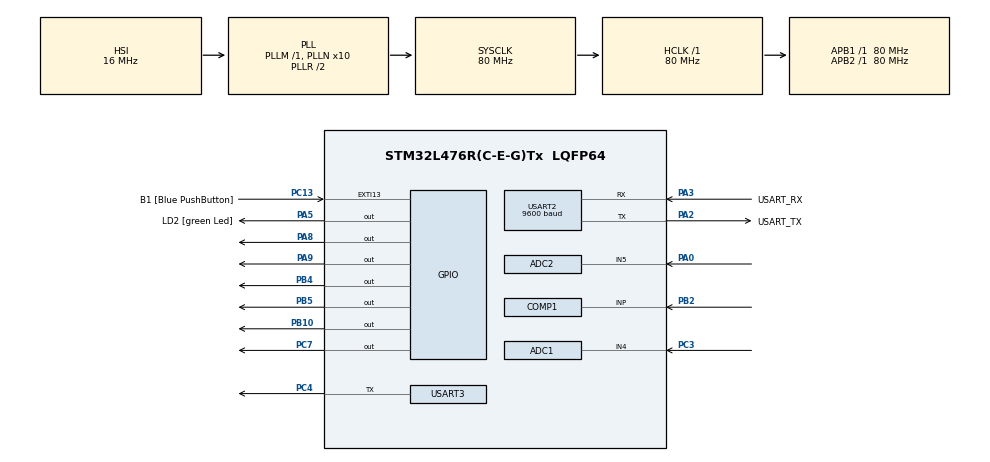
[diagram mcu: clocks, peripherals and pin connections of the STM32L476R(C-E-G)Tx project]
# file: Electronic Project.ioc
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ADC1.Channel-2\#ChannelRegularConversion=ADC_CHANNEL_4
ADC1.ClockPrescaler=ADC_CLOCK_ASYNC_DIV128
ADC1.ContinuousConvMode=ENABLE
ADC1.DMAContinuousRequests=ENABLE
ADC1.NbrOfConversionFlag=1
ADC1.OffsetNumber-2\#ChannelRegularConversion=ADC_OFFSET_NONE
ADC1.Rank-2\#ChannelRegularConversion=1
ADC1.SamplingTime-2\#ChannelRegularConversion=ADC_SAMPLETIME_12CYCLES_5
ADC1.master=1
ADC2.Channel-0\#ChannelRegularConversion=ADC_CHANNEL_5
ADC2.ClockPrescaler=ADC_CLOCK_ASYNC_DIV128
ADC2.NbrOfConversionFlag=1
ADC2.OffsetNumber-0\#ChannelRegularConversion=ADC_OFFSET_NONE
ADC2.Rank-0\#ChannelRegularConversion=1
ADC2.SamplingTime-0\#ChannelRegularConversion=ADC_SAMPLETIME_2CYCLES_5
COMP1.Hysteresis=COMP_HYSTERESIS_NONE
COMP1.TriggerMode=COMP_TRIGGERMODE_EVENT_RISING
Dma.ADC1.0.Direction=DMA_PERIPH_TO_MEMORY
Dma.ADC1.0.Instance=DMA1_Channel1
Dma.ADC1.0.MemDataAlignment=DMA_MDATAALIGN_WORD
Dma.ADC1.0.MemInc=DMA_MINC_ENABLE
Dma.ADC1.0.Mode=DMA_CIRCULAR
Dma.ADC1.0.PeriphDataAlignment=DMA_PDATAALIGN_WORD
Dma.ADC1.0.PeriphInc=DMA_PINC_DISABLE
Dma.ADC1.0.Priority=DMA_PRIORITY_LOW
Dma.Request0=ADC1
Mcu.Family=STM32L4
Mcu.Name=STM32L476R(C-E-G)Tx
Mcu.Package=LQFP64
NVIC.DMA1_Channel1_IRQn=true\:0\:0\:false\:false\:true\:false\:true\:true
NVIC.PriorityGroup=NVIC_PRIORITYGROUP_4
NVIC.TIM1_UP_TIM16_IRQn=true\:0\:0\:false\:false\:true\:true\:true\:true
PA0.Signal=ADCx_IN5
PA13\ (JTMS-SWDIO).GPIO_Label=TMS
PA13\ (JTMS-SWDIO).Mode=Serial_Wire
PA13\ (JTMS-SWDIO).Signal=SYS_JTMS-SWDIO
PA14\ (JTCK-SWCLK).GPIO_Label=TCK
PA14\ (JTCK-SWCLK).Mode=Serial_Wire
PA14\ (JTCK-SWCLK).Signal=SYS_JTCK-SWCLK
PA2.GPIO_Label=USART_TX
PA2.GPIO_Mode=GPIO_MODE_AF_PP
PA2.GPIO_PuPd=GPIO_NOPULL
PA2.GPIO_Speed=GPIO_SPEED_FREQ_VERY_HIGH
PA2.Mode=Asynchronous
PA2.Signal=USART2_TX
PA3.GPIO_Label=USART_RX
PA3.GPIO_Mode=GPIO_MODE_AF_PP
PA3.GPIO_PuPd=GPIO_NOPULL
PA3.GPIO_Speed=GPIO_SPEED_FREQ_VERY_HIGH
PA3.Mode=Asynchronous
PA3.Signal=USART2_RX
PA5.GPIO_Label=LD2 [green Led]
PA5.GPIO_ModeDefaultOutputPP=GPIO_MODE_OUTPUT_PP
PA5.GPIO_PuPd=GPIO_NOPULL
PA5.GPIO_Speed=GPIO_SPEED_FREQ_LOW
PA5.Signal=GPIO_Output
PA8.Signal=GPIO_Output
PA9.Signal=GPIO_Output
PB10.Signal=GPIO_Output
PB2.Mode=INP
PB2.Signal=COMP1_INP
PB3\ (JTDO-TRACESWO).GPIO_Label=SWO
PB3\ (JTDO-TRACESWO).Signal=SYS_JTDO-SWO
PB4\ (NJTRST).Signal=GPIO_Output
PB5.Signal=GPIO_Output
PC13.GPIO_Label=B1 [Blue PushButton]
PC13.GPIO_ModeDefaultEXTI=GPIO_MODE_IT_FALLING
PC13.GPIO_PuPd=GPIO_NOPULL
PC13.Signal=GPXTI13
PC14-OSC32_IN\ (PC14).Mode=LSE-External-Oscillator
PC14-OSC32_IN\ (PC14).Signal=RCC_OSC32_IN
PC15-OSC32_OUT\ (PC15).Mode=LSE-External-Oscillator
PC15-OSC32_OUT\ (PC15).Signal=RCC_OSC32_OUT
PC3.Signal=ADCx_IN4
PC4.Mode=Half_duplex(single_wire_mode)
PC4.Signal=USART3_TX
PC7.Signal=GPIO_Output
PH0-OSC_IN\ (PH0).Signal=RCC_OSC_IN
PH1-OSC_OUT\ (PH1).Signal=RCC_OSC_OUT
ProjectManager.HeapSize=0x200
ProjectManager.StackSize=0x400
ProjectManager.TargetToolchain=STM32CubeIDE
RCC.ADCFreq_Value=64000000
RCC.AHBFreq_Value=80000000
RCC.APB1Freq_Value=80000000
RCC.APB1TimFreq_Value=80000000
RCC.APB2Freq_Value=80000000
RCC.APB2TimFreq_Value=80000000
RCC.CortexFreq_Value=80000000
RCC.HCLKFreq_Value=80000000
RCC.HSE_VALUE=8000000
RCC.HSI_VALUE=16000000
RCC.MSI_VALUE=4000000
RCC.PLLN=10
RCC.PLLSourceVirtual=RCC_PLLSOURCE_HSI
RCC.PREFETCH_ENABLE=1
RCC.SYSCLKFreq_VALUE=80000000
RCC.SYSCLKSource=RCC_SYSCLKSOURCE_PLLCLK
RCC.USBFreq_Value=64000000
RCC.VCOOutputFreq_Value=160000000
SH.ADCx_IN4.0=ADC1_IN4,IN4-Single-Ended
SH.ADCx_IN5.0=ADC2_IN5,IN5-Single-Ended
TIM16.Period=5000-1
TIM16.Prescaler=0
USART2.BaudRate=9600
USART2.VirtualMode-Asynchronous=VM_ASYNC
USART3.BaudRate=57600
USART3.Mode=MODE_TX
USART3.VirtualMode-Half_duplex(single_wire_mode)=VM_ASYNC
VP_COMP1_VS_VREFINT12.Mode=VREFINT_12
VP_TIM16_VS_ClockSourceINT.Mode=Enable_Timer
board=NUCLEO-L476RG

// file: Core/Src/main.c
/* USER CODE BEGIN Header */
/**
  ******************************************************************************
  * @file           : main.c
  * @brief          : Main program body
  ******************************************************************************
  * @attention
  *
  * Copyright (c) 2022 STMicroelectronics.
  * All rights reserved.
  *
  * This software is licensed under terms that can be found in the LICENSE file
  * in the root directory of this software component.
  * If no LICENSE file comes with this software, it is provided AS-IS.
  *
  ******************************************************************************
  */
/* USER CODE END Header */
#include "main.h"

/* USER CODE BEGIN Includes */
#include <stdio.h>
#include <FFT.h>
#include <stdint.h>
#include <math.h>
#include "LCD_Display.h"
#include "comparator.h"
#include "ADC.h"
#include "utilities.h"
/* USER CODE END Includes */

/* USER CODE BEGIN PTD */
#define ADC_BUF_LEN 4096
#define CLOCK_FREQUENCY 16e3
#define TRANSMITTED_FREQUENCY 10.525e9
/* USER CODE END PTD */

ADC_HandleTypeDef hadc1;
ADC_HandleTypeDef hadc2;
DMA_HandleTypeDef hdma_adc1;

COMP_HandleTypeDef hcomp1;

TIM_HandleTypeDef htim16;

UART_HandleTypeDef huart2;
UART_HandleTypeDef huart3;

/* USER CODE BEGIN PV */
// ADC Globals
ADC adc;

// Comparator Globals
Comparator comp;
/* USER CODE END PV */

void SystemClock_Config(void);
void PeriphCommonClock_Config(void);
static void MX_GPIO_Init(void);
static void MX_DMA_Init(void);
static void MX_USART2_UART_Init(void);
static void MX_COMP1_Init(void);
static void MX_TIM16_Init(void);
static void MX_ADC2_Init(void);
static void MX_ADC1_Init(void);
static void MX_USART3_UART_Init(void);

int main(void)
{
  /* USER CODE BEGIN 1 */
  // LCD Variables
  LCDButtons sampling_mode = UP;
  char sampling_text[16] = "ADC f";
  LCDButtons units_mode = RIGHT;
  char units_text[16] = "kmph";
  float current_frequency = 0;
  float current_speed = 0;

  // ADC variables
  uint32_t adc_buf[ADC_BUF_LEN] = {0};	//buffer array
  /* USER CODE END 1 */

  /* MCU Configuration--------------------------------------------------------*/

  /* Reset of all peripherals, Initializes the Flash interface and the Systick. */
  HAL_Init();

  /* Configure the system clock */
  SystemClock_Config();

/* Configure the peripherals common clocks */
  PeriphCommonClock_Config();

  /* Initialize all configured peripherals */
  MX_GPIO_Init();
  MX_DMA_Init();
  MX_USART2_UART_Init();
  MX_COMP1_Init();
  MX_TIM16_Init();
  MX_ADC2_Init();
  MX_ADC1_Init();
  MX_USART3_UART_Init();
  /* USER CODE BEGIN 2 */
  // Starting Processes
  // Initializing LCD
  LCD_init();
  LCD_clear();

  // Initializing Comparator
  comparatorInit(&comp, &hcomp1, &htim16, CLOCK_FREQUENCY);
  // Initializing ADC
  ADCInit(&adc, &hadc1, ADC_BUF_LEN, adc_buf, 64000000, 128, 12, 12.5);
  ADCStart(&adc);
  /* USER CODE END 2 */

  /* Infinite loop */
  /* USER CODE BEGIN WHILE */
  while (1) {
	  LCDButtons current_button = LCD_get_pressed_button(&hadc2);

	  // Setting Mode
	  if (current_button == DOWN && sampling_mode != DOWN) {
		  comparatorStart(&comp);
		  ADCStop(&adc);
		  sampling_mode = DOWN;
		  snprintf(sampling_text, 16, "COMP f");
	  } else if (current_button == UP && sampling_mode != UP) {
		  comparatorStop(&comp);
		  ADCStart(&adc);
		  sampling_mode = UP;
		  snprintf(sampling_text, 16, "ADC f");
	  } else if (current_button == RIGHT && units_mode != RIGHT) {
		  units_mode = RIGHT;
		  snprintf(units_text, 16, "kmph");
	  } else if (current_button == LEFT && units_mode != LEFT) {
		  units_mode = LEFT;
		  snprintf(units_text, 16, "mph");
	  }

	  // Getting Frequency
	  if (sampling_mode == DOWN) {
		  current_frequency = comparatorCalculateFrequency(&comp);
	  } else if(sampling_mode == UP) {
		  current_frequency = ADCCalculateFrequency(&adc, 1);
	  }

	  // Printing to LCD
	  if (units_mode == RIGHT) {
		  current_speed = calculateSpeed(current_frequency, TRANSMITTED_FREQUENCY);
	  } else if (units_mode == LEFT) {
		  current_speed = calculateSpeedMPH(current_frequency, TRANSMITTED_FREQUENCY);
	  }

	  // Printing to LCD
	  // Line 1
	  LCD_put_cur(0, 0);
	  LCD_print_float(sampling_text, current_frequency);
	  // Line 2
	  LCD_put_cur(1, 0);
	  LCD_print_float(units_text, current_speed);

	  // Sending to 7-segment display
	  uint8_t speed_u8 = (uint8_t) roundf(current_speed);
	  uint8_t speed_bcd = binToBCD(speed_u8);
	  HAL_UART_Transmit(&huart3, &speed_bcd, 1, 100);

	  HAL_Delay(100);
    /* USER CODE END WHILE */

  }
}

void SystemClock_Config(void)
{
  RCC_OscInitTypeDef RCC_OscInitStruct = {0};
  RCC_ClkInitTypeDef RCC_ClkInitStruct = {0};

  /** Configure the main internal regulator output voltage
  */
  if (HAL_PWREx_ControlVoltageScaling(PWR_REGULATOR_VOLTAGE_SCALE1) != HAL_OK)
  {
    Error_Handler();
  }

  /** Initializes the RCC Oscillators according to the specified parameters
  * in the RCC_OscInitTypeDef structure.
  */
  RCC_OscInitStruct.OscillatorType = RCC_OSCILLATORTYPE_HSI;
  RCC_OscInitStruct.HSIState = RCC_HSI_ON;
  RCC_OscInitStruct.HSICalibrationValue = RCC_HSICALIBRATION_DEFAULT;
  RCC_OscInitStruct.PLL.PLLState = RCC_PLL_ON;
  RCC_OscInitStruct.PLL.PLLSource = RCC_PLLSOURCE_HSI;
  RCC_OscInitStruct.PLL.PLLM = 1;
  RCC_OscInitStruct.PLL.PLLN = 10;
  RCC_OscInitStruct.PLL.PLLP = RCC_PLLP_DIV7;
  RCC_OscInitStruct.PLL.PLLQ = RCC_PLLQ_DIV2;
  RCC_OscInitStruct.PLL.PLLR = RCC_PLLR_DIV2;
  if (HAL_RCC_OscConfig(&RCC_OscInitStruct) != HAL_OK)
  {
    Error_Handler();
  }

  /** Initializes the CPU, AHB and APB buses clocks
  */
  RCC_ClkInitStruct.ClockType = RCC_CLOCKTYPE_HCLK|RCC_CLOCKTYPE_SYSCLK
                              |RCC_CLOCKTYPE_PCLK1|RCC_CLOCKTYPE_PCLK2;
  RCC_ClkInitStruct.SYSCLKSource = RCC_SYSCLKSOURCE_PLLCLK;
  RCC_ClkInitStruct.AHBCLKDivider = RCC_SYSCLK_DIV1;
  RCC_ClkInitStruct.APB1CLKDivider = RCC_HCLK_DIV1;
  RCC_ClkInitStruct.APB2CLKDivider = RCC_HCLK_DIV1;

  if (HAL_RCC_ClockConfig(&RCC_ClkInitStruct, FLASH_LATENCY_4) != HAL_OK)
  {
    Error_Handler();
  }
}

void PeriphCommonClock_Config(void)
{
  RCC_PeriphCLKInitTypeDef PeriphClkInit = {0};

  /** Initializes the peripherals clock
  */
  PeriphClkInit.PeriphClockSelection = RCC_PERIPHCLK_ADC;
  PeriphClkInit.AdcClockSelection = RCC_ADCCLKSOURCE_PLLSAI1;
  PeriphClkInit.PLLSAI1.PLLSAI1Source = RCC_PLLSOURCE_HSI;
  PeriphClkInit.PLLSAI1.PLLSAI1M = 1;
  PeriphClkInit.PLLSAI1.PLLSAI1N = 8;
  PeriphClkInit.PLLSAI1.PLLSAI1P = RCC_PLLP_DIV7;
  PeriphClkInit.PLLSAI1.PLLSAI1Q = RCC_PLLQ_DIV2;
  PeriphClkInit.PLLSAI1.PLLSAI1R = RCC_PLLR_DIV2;
  PeriphClkInit.PLLSAI1.PLLSAI1ClockOut = RCC_PLLSAI1_ADC1CLK;
  if (HAL_RCCEx_PeriphCLKConfig(&PeriphClkInit) != HAL_OK)
  {
    Error_Handler();
  }
}

static void MX_ADC1_Init(void)
{

  ADC_MultiModeTypeDef multimode = {0};
  ADC_ChannelConfTypeDef sConfig = {0};

  /** Common config
  */
  hadc1.Instance = ADC1;
  hadc1.Init.ClockPrescaler = ADC_CLOCK_ASYNC_DIV128;
  hadc1.Init.Resolution = ADC_RESOLUTION_12B;
  hadc1.Init.DataAlign = ADC_DATAALIGN_RIGHT;
  hadc1.Init.ScanConvMode = ADC_SCAN_DISABLE;
  hadc1.Init.EOCSelection = ADC_EOC_SINGLE_CONV;
  hadc1.Init.LowPowerAutoWait = DISABLE;
  hadc1.Init.ContinuousConvMode = ENABLE;
  hadc1.Init.NbrOfConversion = 1;
  hadc1.Init.DiscontinuousConvMode = DISABLE;
  hadc1.Init.ExternalTrigConv = ADC_SOFTWARE_START;
  hadc1.Init.ExternalTrigConvEdge = ADC_EXTERNALTRIGCONVEDGE_NONE;
  hadc1.Init.DMAContinuousRequests = ENABLE;
  hadc1.Init.Overrun = ADC_OVR_DATA_PRESERVED;
  hadc1.Init.OversamplingMode = DISABLE;
  if (HAL_ADC_Init(&hadc1) != HAL_OK)
  {
    Error_Handler();
  }

  /** Configure the ADC multi-mode
  */
  multimode.Mode = ADC_MODE_INDEPENDENT;
  if (HAL_ADCEx_MultiModeConfigChannel(&hadc1, &multimode) != HAL_OK)
  {
    Error_Handler();
  }

  /** Configure Regular Channel
  */
  sConfig.Channel = ADC_CHANNEL_4;
  sConfig.Rank = ADC_REGULAR_RANK_1;
  sConfig.SamplingTime = ADC_SAMPLETIME_12CYCLES_5;
  sConfig.SingleDiff = ADC_SINGLE_ENDED;
  sConfig.OffsetNumber = ADC_OFFSET_NONE;
  sConfig.Offset = 0;
  if (HAL_ADC_ConfigChannel(&hadc1, &sConfig) != HAL_OK)
  {
    Error_Handler();
  }

}

static void MX_ADC2_Init(void)
{

  ADC_ChannelConfTypeDef sConfig = {0};

  /** Common config
  */
  hadc2.Instance = ADC2;
  hadc2.Init.ClockPrescaler = ADC_CLOCK_ASYNC_DIV128;
  hadc2.Init.Resolution = ADC_RESOLUTION_12B;
  hadc2.Init.DataAlign = ADC_DATAALIGN_RIGHT;
  hadc2.Init.ScanConvMode = ADC_SCAN_DISABLE;
  hadc2.Init.EOCSelection = ADC_EOC_SINGLE_CONV;
  hadc2.Init.LowPowerAutoWait = DISABLE;
  hadc2.Init.ContinuousConvMode = DISABLE;
  hadc2.Init.NbrOfConversion = 1;
  hadc2.Init.DiscontinuousConvMode = DISABLE;
  hadc2.Init.ExternalTrigConv = ADC_SOFTWARE_START;
  hadc2.Init.ExternalTrigConvEdge = ADC_EXTERNALTRIGCONVEDGE_NONE;
  hadc2.Init.DMAContinuousRequests = DISABLE;
  hadc2.Init.Overrun = ADC_OVR_DATA_PRESERVED;
  hadc2.Init.OversamplingMode = DISABLE;
  if (HAL_ADC_Init(&hadc2) != HAL_OK)
  {
    Error_Handler();
  }

  /** Configure Regular Channel
  */
  sConfig.Channel = ADC_CHANNEL_5;
  sConfig.Rank = ADC_REGULAR_RANK_1;
  sConfig.SamplingTime = ADC_SAMPLETIME_2CYCLES_5;
  sConfig.SingleDiff = ADC_SINGLE_ENDED;
  sConfig.OffsetNumber = ADC_OFFSET_NONE;
  sConfig.Offset = 0;
  if (HAL_ADC_ConfigChannel(&hadc2, &sConfig) != HAL_OK)
  {
    Error_Handler();
  }

}

static void MX_COMP1_Init(void)
{

  hcomp1.Instance = COMP1;
  hcomp1.Init.InvertingInput = COMP_INPUT_MINUS_1_2VREFINT;
  hcomp1.Init.NonInvertingInput = COMP_INPUT_PLUS_IO2;
  hcomp1.Init.OutputPol = COMP_OUTPUTPOL_NONINVERTED;
  hcomp1.Init.Hysteresis = COMP_HYSTERESIS_NONE;
  hcomp1.Init.BlankingSrce = COMP_BLANKINGSRC_NONE;
  hcomp1.Init.Mode = COMP_POWERMODE_HIGHSPEED;
  hcomp1.Init.WindowMode = COMP_WINDOWMODE_DISABLE;
  hcomp1.Init.TriggerMode = COMP_TRIGGERMODE_EVENT_RISING;
  if (HAL_COMP_Init(&hcomp1) != HAL_OK)
  {
    Error_Handler();
  }

}

static void MX_TIM16_Init(void)
{

  htim16.Instance = TIM16;
  htim16.Init.Prescaler = 0;
  htim16.Init.CounterMode = TIM_COUNTERMODE_UP;
  htim16.Init.Period = 5000-1;
  htim16.Init.ClockDivision = TIM_CLOCKDIVISION_DIV1;
  htim16.Init.RepetitionCounter = 0;
  htim16.Init.AutoReloadPreload = TIM_AUTORELOAD_PRELOAD_DISABLE;
  if (HAL_TIM_Base_Init(&htim16) != HAL_OK)
  {
    Error_Handler();
  }

}

static void MX_USART2_UART_Init(void)
{

  huart2.Instance = USART2;
  huart2.Init.BaudRate = 9600;
  huart2.Init.WordLength = UART_WORDLENGTH_8B;
  huart2.Init.StopBits = UART_STOPBITS_1;
  huart2.Init.Parity = UART_PARITY_NONE;
  huart2.Init.Mode = UART_MODE_TX_RX;
  huart2.Init.HwFlowCtl = UART_HWCONTROL_NONE;
  huart2.Init.OverSampling = UART_OVERSAMPLING_16;
  huart2.Init.OneBitSampling = UART_ONE_BIT_SAMPLE_DISABLE;
  huart2.AdvancedInit.AdvFeatureInit = UART_ADVFEATURE_NO_INIT;
  if (HAL_UART_Init(&huart2) != HAL_OK)
  {
    Error_Handler();
  }

}

static void MX_USART3_UART_Init(void)
{

  huart3.Instance = USART3;
  huart3.Init.BaudRate = 57600;
  huart3.Init.WordLength = UART_WORDLENGTH_8B;
  huart3.Init.StopBits = UART_STOPBITS_1;
  huart3.Init.Parity = UART_PARITY_NONE;
  huart3.Init.Mode = UART_MODE_TX;
  huart3.Init.HwFlowCtl = UART_HWCONTROL_NONE;
  huart3.Init.OverSampling = UART_OVERSAMPLING_16;
  huart3.Init.OneBitSampling = UART_ONE_BIT_SAMPLE_DISABLE;
  huart3.AdvancedInit.AdvFeatureInit = UART_ADVFEATURE_NO_INIT;
  if (HAL_HalfDuplex_Init(&huart3) != HAL_OK)
  {
    Error_Handler();
  }

}

static void MX_DMA_Init(void)
{

  /* DMA controller clock enable */
  __HAL_RCC_DMA1_CLK_ENABLE();

  /* DMA interrupt init */
  /* DMA1_Channel1_IRQn interrupt configuration */
  HAL_NVIC_SetPriority(DMA1_Channel1_IRQn, 0, 0);
  HAL_NVIC_EnableIRQ(DMA1_Channel1_IRQn);

}

static void MX_GPIO_Init(void)
{
  GPIO_InitTypeDef GPIO_InitStruct = {0};

  /* GPIO Ports Clock Enable */
  __HAL_RCC_GPIOC_CLK_ENABLE();
  __HAL_RCC_GPIOH_CLK_ENABLE();
  __HAL_RCC_GPIOA_CLK_ENABLE();
  __HAL_RCC_GPIOB_CLK_ENABLE();

  /*Configure GPIO pin Output Level */
  HAL_GPIO_WritePin(GPIOA, LD2_Pin|GPIO_PIN_8|GPIO_PIN_9, GPIO_PIN_RESET);

  /*Configure GPIO pin Output Level */
  HAL_GPIO_WritePin(GPIOB, GPIO_PIN_10|GPIO_PIN_4|GPIO_PIN_5, GPIO_PIN_RESET);

  /*Configure GPIO pin Output Level */
  HAL_GPIO_WritePin(GPIOC, GPIO_PIN_7, GPIO_PIN_RESET);

  /*Configure GPIO pin : B1_Pin */
  GPIO_InitStruct.Pin = B1_Pin;
  GPIO_InitStruct.Mode = GPIO_MODE_IT_FALLING;
  GPIO_InitStruct.Pull = GPIO_NOPULL;
  HAL_GPIO_Init(B1_GPIO_Port, &GPIO_InitStruct);

  /*Configure GPIO pins : LD2_Pin PA8 PA9 */
  GPIO_InitStruct.Pin = LD2_Pin|GPIO_PIN_8|GPIO_PIN_9;
  GPIO_InitStruct.Mode = GPIO_MODE_OUTPUT_PP;
  GPIO_InitStruct.Pull = GPIO_NOPULL;
  GPIO_InitStruct.Speed = GPIO_SPEED_FREQ_LOW;
  HAL_GPIO_Init(GPIOA, &GPIO_InitStruct);

  /*Configure GPIO pins : PB10 PB4 PB5 */
  GPIO_InitStruct.Pin = GPIO_PIN_10|GPIO_PIN_4|GPIO_PIN_5;
  GPIO_InitStruct.Mode = GPIO_MODE_OUTPUT_PP;
  GPIO_InitStruct.Pull = GPIO_NOPULL;
  GPIO_InitStruct.Speed = GPIO_SPEED_FREQ_LOW;
  HAL_GPIO_Init(GPIOB, &GPIO_InitStruct);

  /*Configure GPIO pin : PC7 */
  GPIO_InitStruct.Pin = GPIO_PIN_7;
  GPIO_InitStruct.Mode = GPIO_MODE_OUTPUT_PP;
  GPIO_InitStruct.Pull = GPIO_NOPULL;
  GPIO_InitStruct.Speed = GPIO_SPEED_FREQ_LOW;
  HAL_GPIO_Init(GPIOC, &GPIO_InitStruct);

}

/* USER CODE BEGIN 4 */
// Called when first half of buffer is filled
void HAL_ADC_ConvHalfCpltCallback(ADC_HandleTypeDef* hadc) {
	HAL_GPIO_WritePin(LD2_GPIO_Port, LD2_Pin, GPIO_PIN_SET);
}

// Called when buffer is completely filled
void HAL_ADC_ConvCpltCallback(ADC_HandleTypeDef* hadc) {
	HAL_GPIO_WritePin(LD2_GPIO_Port, LD2_Pin, GPIO_PIN_RESET);
	if (hadc == adc.hadc) {
		ADCHandleCallback(&adc);
	}
}

// Callback: timer has rolled over
void HAL_TIM_PeriodElapsedCallback(TIM_HandleTypeDef *htim) {
	// Checking for the right clock
	if (htim == comp.htim) { // Comparator clock
		comparatorHandleClockCallback(&comp);
	}
}
/* USER CODE END 4 */

void Error_Handler(void)
{
  __disable_irq();
  while (1)
  {
  }
}
